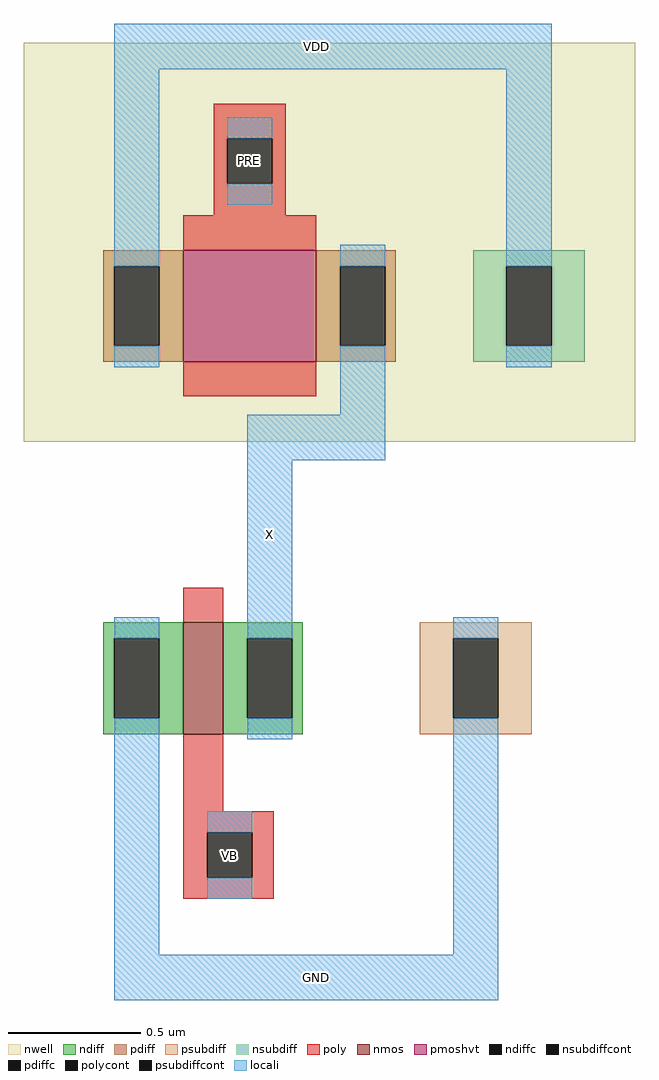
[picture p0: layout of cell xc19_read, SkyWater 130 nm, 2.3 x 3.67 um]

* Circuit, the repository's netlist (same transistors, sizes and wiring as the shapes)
* NGSPICE file created from xc19_read.ext - technology: sky130A

.subckt xc19_read VB PRE X VDD GND
X0 X VB GND GND sky130_fd_pr__nfet_01v8 ad=0.126 pd=1.44 as=0.126 ps=1.44 w=0.42 l=0.15
X1 X PRE VDD VDD sky130_fd_pr__pfet_01v8_hvt ad=0.126 pd=1.44 as=0.126 ps=1.44 w=0.42 l=0.5
.ends

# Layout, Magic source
magic
tech sky130A
magscale 1 2
<< nwell >>
rect -60 220 400 520
<< nmos >>
rect 60 0 90 84
<< pmoshvt >>
rect 60 280 160 364
<< ndiff >>
rect 0 72 60 84
rect 0 12 8 72
rect 42 12 60 72
rect 0 0 60 12
rect 90 72 150 84
rect 90 12 108 72
rect 142 12 150 72
rect 90 0 150 12
<< pdiff >>
rect 0 352 60 364
rect 0 292 8 352
rect 42 292 60 352
rect 0 280 60 292
rect 160 352 220 364
rect 160 292 178 352
rect 212 292 220 352
rect 160 280 220 292
<< ndiffc >>
rect 8 12 42 72
rect 108 12 142 72
<< pdiffc >>
rect 8 292 42 352
rect 178 292 212 352
<< psubdiff >>
rect 238 72 322 84
rect 238 12 263 72
rect 297 12 322 72
rect 238 0 322 12
<< nsubdiff >>
rect 278 352 362 364
rect 278 292 303 352
rect 337 292 362 352
rect 278 280 362 292
<< psubdiffcont >>
rect 263 12 297 72
<< nsubdiffcont >>
rect 303 292 337 352
<< poly >>
rect 83 448 137 474
rect 83 414 93 448
rect 127 414 137 448
rect 83 390 137 414
rect 60 364 160 390
rect 60 254 160 280
rect 60 84 90 110
rect 60 -58 90 0
rect 60 -74 128 -58
rect 60 -108 78 -74
rect 112 -108 128 -74
rect 60 -124 128 -108
<< polycont >>
rect 93 414 127 448
rect 78 -108 112 -74
<< locali >>
rect 8 500 337 534
rect 8 352 42 500
rect 93 448 127 464
rect 93 398 127 414
rect 8 276 42 292
rect 178 352 212 368
rect 178 240 212 292
rect 303 352 337 500
rect 303 276 337 292
rect 108 206 212 240
rect 8 72 42 88
rect 8 -166 42 12
rect 108 72 142 206
rect 108 -4 142 12
rect 263 72 297 88
rect 78 -74 112 -58
rect 78 -124 112 -108
rect 263 -166 297 12
rect 8 -200 297 -166
<< labels >>
flabel locali 78 -124 112 -58 0 FreeSans 320 0 0 0 VB
port 1 nsew
flabel locali 93 398 127 464 0 FreeSans 320 0 0 0 PRE
port 2 nsew
flabel locali 108 120 142 180 0 FreeSans 320 0 0 0 X
port 3 nsew
flabel locali 120 500 200 534 0 FreeSans 320 0 0 0 VDD
port 4 nsew
flabel locali 120 -200 200 -166 0 FreeSans 320 0 0 0 GND
port 5 nsew
<< end >>
